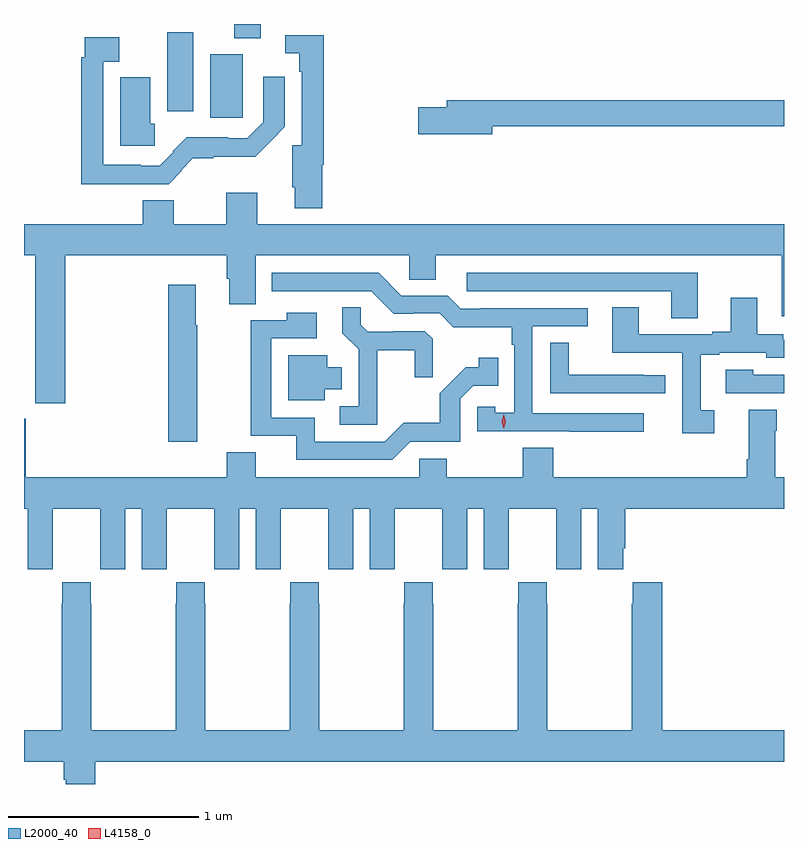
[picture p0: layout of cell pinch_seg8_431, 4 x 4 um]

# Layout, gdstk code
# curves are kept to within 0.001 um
import gdstk
lib = gdstk.Library(unit=1e-6, precision=1e-09)
def R(c, l, rs):  # rectangles x0, y0, x1, y1
    for r in rs: c.add(gdstk.rectangle(r[:2], r[2:], *l))
def P(c, l, *ps):  # polygons
    for p in ps: c.add(gdstk.Polygon(p, *l))
L2000_40 = (2000, 40)
L4158_0 = (4158, 0)

pinch_seg8_431 = lib.new_cell('pinch_seg8_431')
R(pinch_seg8_431, L2000_40, [(361.376,1149.192,361.546,1149.526), (361.151,1149.228,361.288,1149.643), (361.502,1149.611,361.642,1149.686)])
P(pinch_seg8_431, L2000_40, [(361.967,1148.945),(361.973,1148.945),(361.973,1149.628),(361.77,1149.628),(361.77,1149.531),(361.845,1149.531),(361.845,1149.434),(361.857,1149.434),(361.857,1149.048),(361.808,1149.048),(361.808,1148.827),(361.82,1148.827),(361.82,1148.717),(361.967,1148.717)],
  [(361.227,1148.913),(361.223,1148.917),(361.285,1148.979),(361.393,1148.979),(361.393,1148.987),(361.613,1148.987),(361.768,1149.144),(361.768,1149.409),(361.656,1149.409),(361.656,1149.168),(361.572,1149.084),(361.472,1149.084),(361.472,1149.089),(361.253,1149.089),(361.179,1149.015),(361.182,1149.012),(361.11,1148.94),(361.01,1148.94),(361.01,1148.944),(360.813,1148.944),(360.813,1149.488),(360.896,1149.488),(360.896,1149.616),(360.717,1149.616),(360.717,1149.512),(360.697,1149.512),(360.697,1148.843),(361.157,1148.843)],
  [(361.083,1149.162),(361.06,1149.162),(361.06,1149.407),(360.902,1149.407),(360.902,1149.045),(361.083,1149.045)],
  [(362.86,1149.148),(364.396,1149.148),(364.396,1149.284),(362.621,1149.284),(362.621,1149.248),(362.472,1149.248),(362.472,1149.106),(362.86,1149.106)],
  [(360.614,1148.468),(361.463,1148.468),(361.463,1148.346),(361.475,1148.346),(361.475,1148.212),(361.615,1148.212),(361.615,1148.468),(362.424,1148.468),(362.424,1148.341),(362.563,1148.341),(362.563,1148.468),(364.385,1148.468),(364.385,1148.148),(364.396,1148.148),(364.396,1148.632),(361.624,1148.632),(361.624,1148.797),(361.46,1148.797),(361.46,1148.632),(361.183,1148.632),(361.183,1148.758),(361.022,1148.758),(361.022,1148.632),(360.396,1148.632),(360.396,1148.468),(360.454,1148.468),(360.454,1147.689),(360.614,1147.689)],
  [(363.658,1147.638),(363.072,1147.638),(363.072,1148.094),(363.364,1148.094),(363.364,1148.19),(362.794,1148.19),(362.794,1148.187),(362.694,1148.187),(362.625,1148.256),(362.382,1148.256),(362.262,1148.376),(361.7,1148.376),(361.7,1148.28),(362.223,1148.28),(362.343,1148.16),(362.444,1148.16),(362.444,1148.163),(362.583,1148.163),(362.656,1148.09),(362.964,1148.09),(362.964,1147.997),(362.976,1147.997),(362.976,1147.639),(362.877,1147.639),(362.877,1147.671),(362.781,1147.671),(362.781,1147.542),(363.265,1147.542),(363.265,1147.54),(363.658,1147.54)],
  [(363.943,1148.376),(362.727,1148.376),(362.727,1148.28),(363.803,1148.28),(363.803,1148.137),(363.943,1148.137)],
  [(361.308,1148.101),(361.3,1148.101),(361.3,1148.314),(361.154,1148.314),(361.154,1147.488),(361.308,1147.488)],
  [(364.03,1147.653),(363.958,1147.653),(363.958,1147.944),(364.054,1147.944),(364.054,1147.956),(364.302,1147.956),(364.302,1147.929),(364.396,1147.929),(364.396,1148.025),(364.392,1148.025),(364.392,1148.052),(364.255,1148.052),(364.255,1148.245),(364.115,1148.245),(364.115,1148.065),(364.019,1148.065),(364.019,1148.052),(363.631,1148.052),(363.631,1148.195),(363.491,1148.195),(363.491,1147.956),(363.861,1147.956),(363.861,1147.533),(364.03,1147.533)],
  [(362.255,1147.97),(362.452,1147.97),(362.452,1147.827),(362.546,1147.827),(362.546,1148.029),(362.505,1148.07),(362.34,1148.07),(362.34,1148.067),(362.206,1148.067),(362.169,1148.104),(362.169,1148.195),(362.071,1148.195),(362.071,1148.059),(362.157,1147.973),(362.157,1147.674),(362.058,1147.674),(362.058,1147.578),(362.255,1147.578)],
  [(362.43,1147.488),(362.691,1147.488),(362.691,1147.713),(362.76,1147.782),(362.891,1147.782),(362.891,1147.93),(362.79,1147.93),(362.79,1147.88),(362.72,1147.88),(362.583,1147.742),(362.583,1147.587),(362.394,1147.587),(362.295,1147.488),(361.927,1147.488),(361.927,1147.614),(361.698,1147.614),(361.698,1148.031),(361.936,1148.031),(361.936,1148.167),(361.78,1148.167),(361.78,1148.127),(361.59,1148.127),(361.59,1147.518),(361.829,1147.518),(361.829,1147.392),(362.334,1147.392)],
  [(363.772,1147.838),(363.659,1147.838),(363.659,1147.839),(363.264,1147.839),(363.264,1148.009),(363.165,1148.009),(363.165,1147.743),(363.772,1147.743)],
  [(361.978,1147.763),(362.068,1147.763),(362.068,1147.879),(361.993,1147.879),(361.993,1147.942),(361.787,1147.942),(361.787,1147.706),(361.978,1147.706)],
  [(364.396,1147.839),(364.233,1147.839),(364.233,1147.867),(364.089,1147.867),(364.089,1147.743),(364.396,1147.743)],
  [(362.622,1147.398),(362.475,1147.398),(362.475,1147.3),(361.615,1147.3),(361.615,1147.433),(361.463,1147.433),(361.463,1147.3),(360.406,1147.3),(360.406,1147.609),(360.396,1147.609),(360.396,1147.136),(360.416,1147.136),(360.416,1146.816),(360.546,1146.816),(360.546,1146.928),(360.547,1146.928),(360.547,1147.136),(360.797,1147.136),(360.797,1146.928),(360.798,1146.928),(360.798,1146.816),(360.928,1146.816),(360.928,1147.136),(361.016,1147.136),(361.016,1146.816),(361.146,1146.816),(361.146,1146.928),(361.147,1146.928),(361.147,1147.136),(361.397,1147.136),(361.397,1146.928),(361.398,1146.928),(361.398,1146.816),(361.528,1146.816),(361.528,1147.136),(361.616,1147.136),(361.616,1146.816),(361.746,1146.816),(361.746,1146.928),(361.747,1146.928),(361.747,1147.136),(361.997,1147.136),(361.997,1146.928),(361.998,1146.928),(361.998,1146.816),(362.128,1146.816),(362.128,1147.136),(362.216,1147.136),(362.216,1146.816),(362.346,1146.816),(362.346,1146.928),(362.347,1146.928),(362.347,1147.136),(362.597,1147.136),(362.597,1146.928),(362.598,1146.928),(362.598,1146.816),(362.728,1146.816),(362.728,1147.136),(362.816,1147.136),(362.816,1146.816),(362.946,1146.816),(362.946,1146.928),(362.947,1146.928),(362.947,1147.136),(363.197,1147.136),(363.197,1146.928),(363.198,1146.928),(363.198,1146.816),(363.328,1146.816),(363.328,1147.136),(363.416,1147.136),(363.416,1146.816),(363.55,1146.816),(363.55,1146.928),(363.56,1146.928),(363.56,1147.136),(364.396,1147.136),(364.396,1147.3),(364.351,1147.3),(364.351,1147.544),(364.359,1147.544),(364.359,1147.657),(364.211,1147.657),(364.211,1147.396),(364.199,1147.396),(364.199,1147.3),(363.182,1147.3),(363.182,1147.457),(363.022,1147.457),(363.022,1147.3),(362.622,1147.3)],
  [(364.396,1145.968),(363.755,1145.968),(363.755,1146.748),(363.601,1146.748),(363.601,1146.635),(363.595,1146.635),(363.595,1145.968),(363.15,1145.968),(363.15,1146.635),(363.147,1146.635),(363.147,1146.748),(362.997,1146.748),(362.997,1146.635),(362.995,1146.635),(362.995,1145.968),(362.55,1145.968),(362.55,1146.635),(362.547,1146.635),(362.547,1146.748),(362.397,1146.748),(362.397,1146.635),(362.395,1146.635),(362.395,1145.968),(361.95,1145.968),(361.95,1146.635),(361.947,1146.635),(361.947,1146.748),(361.797,1146.748),(361.797,1146.635),(361.795,1146.635),(361.795,1145.968),(361.35,1145.968),(361.35,1146.635),(361.347,1146.635),(361.347,1146.748),(361.197,1146.748),(361.197,1146.635),(361.195,1146.635),(361.195,1145.968),(360.75,1145.968),(360.75,1146.635),(360.747,1146.635),(360.747,1146.748),(360.597,1146.748),(360.597,1146.635),(360.595,1146.635),(360.595,1145.968),(360.396,1145.968),(360.396,1145.804),(360.605,1145.804),(360.605,1145.708),(360.617,1145.708),(360.617,1145.686),(360.77,1145.686),(360.77,1145.804),(364.396,1145.804)])
P(pinch_seg8_431, L4158_0, [(362.921,1147.557),(362.921,1147.558),(362.911,1147.593),(362.921,1147.629),(362.921,1147.629),(362.922,1147.629),(362.931,1147.593),(362.922,1147.558)])

lib.write_gds('pinch_seg8_431.gds')
